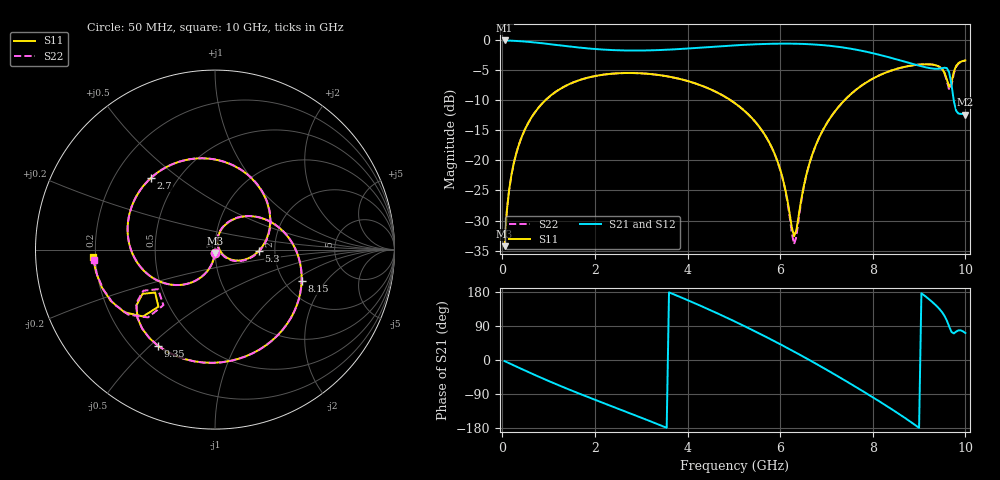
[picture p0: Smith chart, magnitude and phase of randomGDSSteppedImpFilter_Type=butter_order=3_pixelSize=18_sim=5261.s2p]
! freq	dB(S11)	phase(S11)	dB(S12)	phase(S12)
!  dB(S21)	phase(S21)	dB(S22)	phase(S22)
!S-par simulation data
#  GHz  S  DB  R 50
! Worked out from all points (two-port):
!   200 points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, 50 MHz to 10 GHz, reference 50 ohm
!   highest |S21| = 0.00 dB at 50 MHz (marker M1); lowest = -12.3 dB at 10 GHz (marker M2)
!   |S21| within 3 dB of the highest: start of sweep to 8.443 GHz
!   lowest |S11| = -34.3 dB at 50 MHz (marker M3), VSWR 1.04, Z = 49.9 - j1.93 ohm
!   |S11| at or under -10 dB: start of sweep to 926.5 MHz; 4.938 GHz to 7.385 GHz (2.448 GHz wide, 39.7 % of centre)
!   |S22| runs from -34.3 to -3.4 dB; largest |S21 - S12| = 0
!   S11 on the Smith chart (normalised r, x): 50 MHz: 1.00, -0.04; 2.7 GHz: 0.36, +0.40; 5.3 GHz: 1.65, -0.02; 8.15 GHz: 2.47, -1.18; 9.35 GHz: 0.30, -0.53; 10 GHz: 0.19, -0.03
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0.05  -34.28 -92.8  -0.00 -2.9  -0.00 -2.9  -34.28 -92.8
0.2  -22.30 -101.8  -0.05 -11.5  -0.05 -11.5  -22.30 -101.8
0.5  -14.65 -118.9  -0.19 -28.3  -0.19 -28.3  -14.65 -118.9
1.1  -8.86 -151.1  -0.69 -60.6  -0.69 -60.6  -8.86 -151.2
1.75  -6.41 176.5  -1.26 -93.0  -1.26 -93.0  -6.41 176.3
2.7  -5.42 131.7  -1.68 -137.9  -1.68 -137.9  -5.42 131.4
3.4  -5.78 98.3  -1.60 -171.5  -1.60 -171.5  -5.78 98.0
4.2  -7.24 58.0  -1.25 147.5  -1.25 147.5  -7.24 57.4
5.05  -10.60 12.2  -0.81 99.9  -0.81 99.9  -10.61 11.4
5.3  -12.23 -1.5  -0.70 85.1  -0.70 85.1  -12.24 -2.5
5.95  -20.30 -32.7  -0.54 44.9  -0.54 44.9  -20.36 -35.0
6.3  -32.62 16.2  -0.55 22.2  -0.55 22.2  -33.96 14.8
6.7  -18.87 72.9  -0.66 -4.7  -0.66 -4.7  -18.93 74.2
7.5  -9.13 25.7  -1.35 -61.3  -1.35 -61.3  -9.13 25.9
8.15  -5.79 -20.0  -2.41 -109.8  -2.41 -109.8  -5.79 -19.9
8.35  -5.15 -34.7  -2.81 -125.2  -2.81 -125.2  -5.15 -34.6
8.95  -4.07 -82.5  -4.10 -174.7  -4.10 -174.7  -4.06 -82.4
9.35  -4.12 -120.8  -4.73 145.8  -4.73 145.8  -4.12 -121.1
9.6  -6.49 -148.6  -4.61 103.9  -4.61 103.9  -6.74 -150.2
9.7  -6.98 -134.8  -7.36 74.0  -7.36 74.0  -7.48 -132.9
9.8  -4.25 -145.3  -11.71 74.8  -11.71 74.8  -4.38 -143.1
10  -3.33 -176.5  -12.35 71.2  -12.35 71.2  -3.36 -175.0
